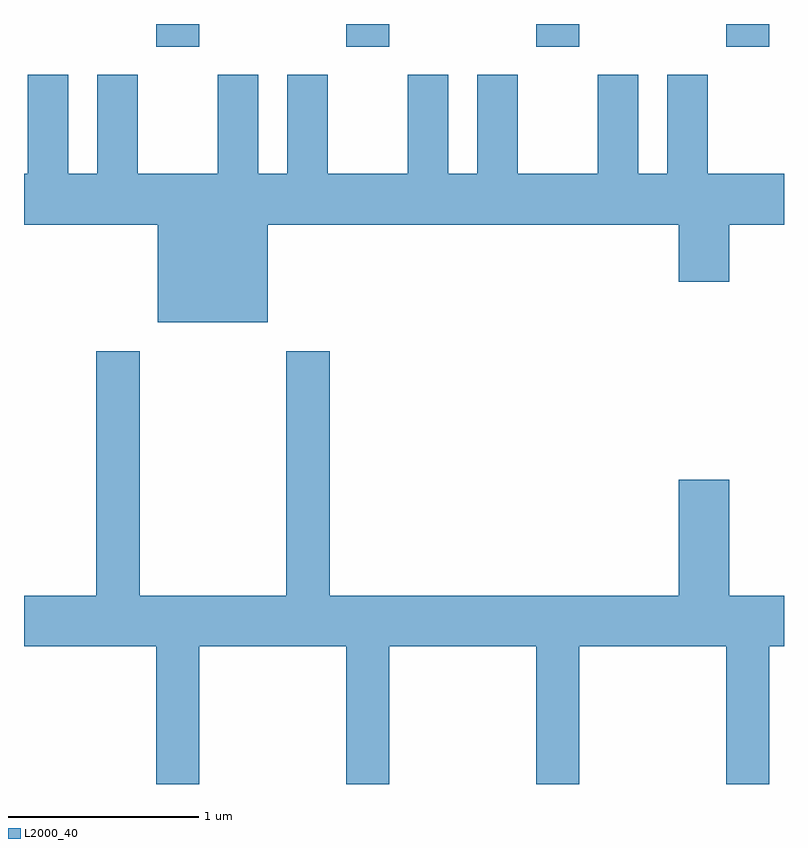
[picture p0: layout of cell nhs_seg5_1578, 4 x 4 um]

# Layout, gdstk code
import gdstk
lib = gdstk.Library(unit=1e-6, precision=1e-09)
def R(c, l, rs):  # rectangles x0, y0, x1, y1
    for r in rs: c.add(gdstk.rectangle(r[:2], r[2:], *l))
def A(c, l, x, y, w, h, nx, ny, dx, dy):  # array of equal rectangles
    R(c, l, [(x+i*dx, y+j*dy, x+i*dx+w, y+j*dy+h) for i in range(nx) for j in range(ny)])
def P(c, l, *ps):  # polygons
    for p in ps: c.add(gdstk.Polygon(p, *l))
L2000_40 = (2000, 40)

nhs_seg5_1578 = lib.new_cell('nhs_seg5_1578')
A(nhs_seg5_1578, L2000_40, 232.306, 1459.951, 0.228, 0.121, 4, 1, 1, 0)
P(nhs_seg5_1578, L2000_40, [(232.631,1459.804),(232.631,1459.284),(232.209,1459.284),(232.209,1459.804),(231.996,1459.804),(231.996,1459.284),(231.844,1459.284),(231.844,1459.804),(231.631,1459.804),(231.631,1459.284),(231.611,1459.284),(231.611,1459.016),(232.316,1459.016),(232.316,1458.501),(232.894,1458.501),(232.894,1459.016),(235.056,1459.016),(235.056,1458.716),(235.324,1458.716),(235.324,1459.016),(235.611,1459.016),(235.611,1459.284),(235.209,1459.284),(235.209,1459.804),(234.996,1459.804),(234.996,1459.284),(234.844,1459.284),(234.844,1459.804),(234.631,1459.804),(234.631,1459.284),(234.209,1459.284),(234.209,1459.804),(233.996,1459.804),(233.996,1459.284),(233.844,1459.284),(233.844,1459.804),(233.631,1459.804),(233.631,1459.284),(233.209,1459.284),(233.209,1459.804),(232.996,1459.804),(232.996,1459.284),(232.844,1459.284),(232.844,1459.804)],
  [(232.534,1456.796),(233.306,1456.796),(233.306,1456.072),(233.534,1456.072),(233.534,1456.796),(234.306,1456.796),(234.306,1456.072),(234.534,1456.072),(234.534,1456.796),(235.306,1456.796),(235.306,1456.072),(235.534,1456.072),(235.534,1456.796),(235.611,1456.796),(235.611,1457.064),(235.324,1457.064),(235.324,1457.674),(235.056,1457.674),(235.056,1457.064),(233.219,1457.064),(233.219,1458.349),(232.991,1458.349),(232.991,1457.064),(232.219,1457.064),(232.219,1458.349),(231.991,1458.349),(231.991,1457.064),(231.611,1457.064),(231.611,1456.796),(232.306,1456.796),(232.306,1456.072),(232.534,1456.072)])

lib.write_gds('nhs_seg5_1578.gds')
